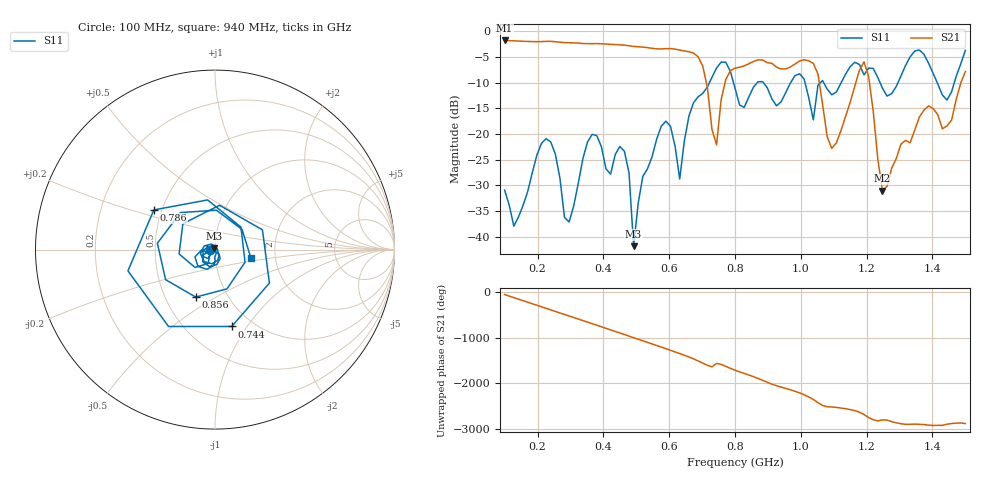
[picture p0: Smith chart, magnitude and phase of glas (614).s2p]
! NanoVNA-App
! Date: 2025-09-25 16:00:15
! Start: 100MHz Stop: 1,5GHz Points: 101
! S-Parameter data: F S11 S21 S12 S22
# Hz S RI R 50
!  Frequency  S11_Real  S11_Imag  S21_Real  S21_Imag  S12_Real  S12_Imag  S22_Real  S22_Imag
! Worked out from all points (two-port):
!   101 points, 100 MHz to 1.5 GHz, reference 50 ohm
!   highest |S21| = -1.80 dB at 100 MHz (marker M1); lowest = -31.0 dB at 1.248 GHz (marker M2)
!   |S21| within 3 dB of the highest: start of sweep to 684.5 MHz
!   lowest |S11| = -41.8 dB at 492 MHz (marker M3), VSWR 1.02, Z = 49.5 + j0.626 ohm
!   |S11| at or under -10 dB: start of sweep to 722.4 MHz; 795.4 MHz to 867.8 MHz (72.44 MHz wide, 8.71 % of centre); 886.2 MHz to 969.2 MHz (82.97 MHz wide, 8.94 % of centre) (the widest 3 of 7)
!   S12 and S22 are empty: the file has one direction only
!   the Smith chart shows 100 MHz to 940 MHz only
!   S11 on the Smith chart (normalised r, x): 100 MHz: 0.94, -0.01; 744 MHz: 0.80, -0.85; 786 MHz: 0.45, +0.24; 856 MHz: 0.71, -0.41; 940 MHz: 1.49, -0.14
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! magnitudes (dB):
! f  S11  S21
! 100 MHz  -30.9  -1.8
! 128 MHz  -37.9  -1.9
! 226 MHz  -20.9  -2.0
! 296 MHz  -37.1  -2.2
! 338 MHz  -24.7  -2.4
! 464 MHz  -23.4  -2.7
! 492 MHz  -41.8  -3.0
! 576 MHz  -18.5  -3.5
! 632 MHz  -28.8  -3.7
! 702 MHz  -12.1  -6.8
! 744 MHz  -7.2  -22.1
! 786 MHz  -7.8  -7.7
! 800 MHz  -11.1  -7.2
! 856 MHz  -10.9  -5.9
! 940 MHz  -13.8  -7.4
! 1.038 GHz  -17.3  -6.3
! 1.094 GHz  -12.4  -22.8
! 1.192 GHz  -8.5  -6.0
! 1.248 GHz  -11.1  -31.0
! 1.276 GHz  -12.2  -26.6
! 1.444 GHz  -13.4  -18.4
! 1.5 GHz  -3.7  -7.8
